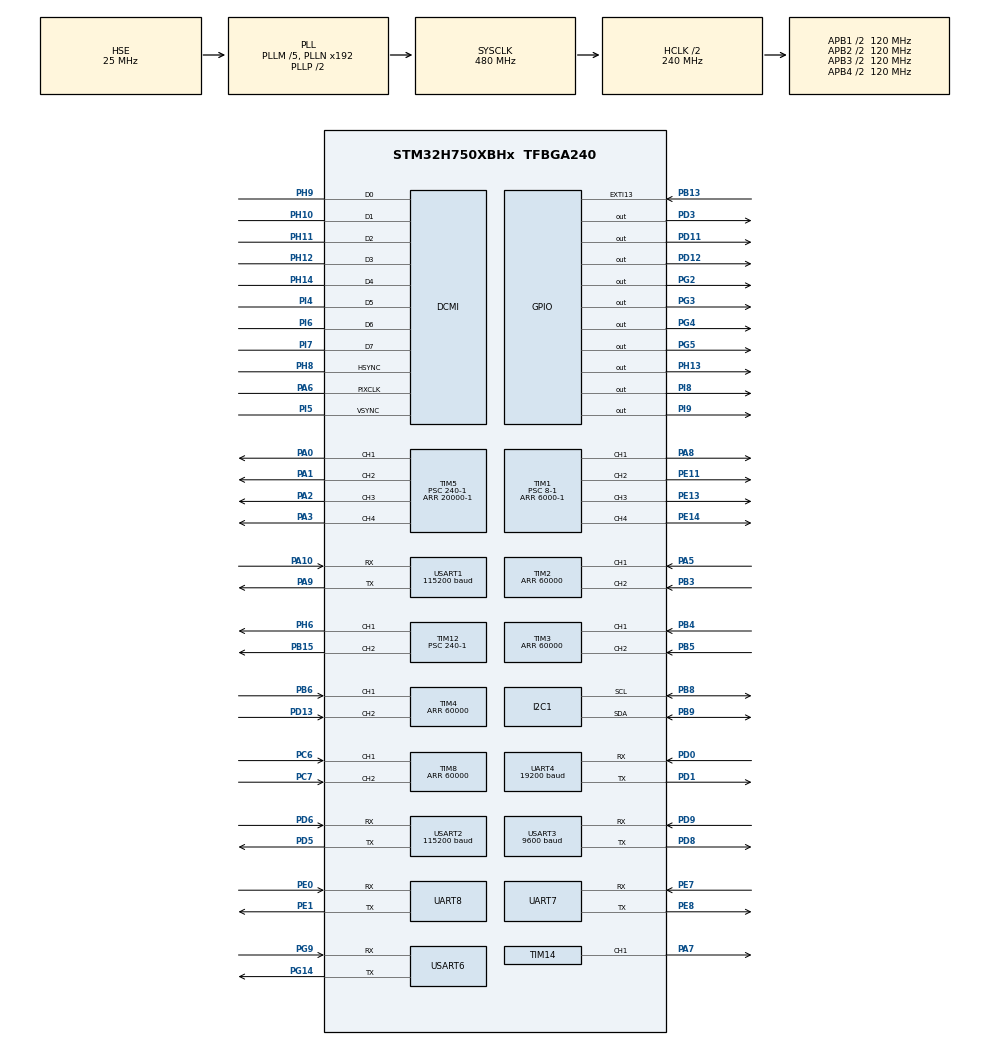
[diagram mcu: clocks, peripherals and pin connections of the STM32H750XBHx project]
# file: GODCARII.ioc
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CORTEX_M7.AccessPermission-Cortex_Memory_Protection_Unit_Region0_Settings=MPU_REGION_FULL_ACCESS
CORTEX_M7.AccessPermission_Spec=MPU_REGION_FULL_ACCESS
CORTEX_M7.BaseAddress-Cortex_Memory_Protection_Unit_Region0_Settings=0x24000000
CORTEX_M7.BaseAddress_Spec=0x24000000
CORTEX_M7.CPU_DCache=Enabled
CORTEX_M7.CPU_ICache=Enabled
CORTEX_M7.DisableExec_Spec=MPU_INSTRUCTION_ACCESS_ENABLE
CORTEX_M7.Enable-Cortex_Memory_Protection_Unit_Region0_Settings=MPU_REGION_ENABLE
CORTEX_M7.IsBufferable-Cortex_Memory_Protection_Unit_Region0_Settings=MPU_ACCESS_BUFFERABLE
CORTEX_M7.IsBufferable_Spec=MPU_ACCESS_BUFFERABLE
CORTEX_M7.IsCacheable-Cortex_Memory_Protection_Unit_Region0_Settings=MPU_ACCESS_CACHEABLE
CORTEX_M7.IsCacheable_Spec=MPU_ACCESS_CACHEABLE
CORTEX_M7.IsShareable-Cortex_Memory_Protection_Unit_Region0_Settings=MPU_ACCESS_SHAREABLE
CORTEX_M7.MPU_Control=MPU_HFNMI_PRIVDEF
CORTEX_M7.Size-Cortex_Memory_Protection_Unit_Region0_Settings=MPU_REGION_SIZE_512KB
CORTEX_M7.Size_Spec=MPU_REGION_SIZE_512KB
CORTEX_M7.SubRegionDisable_Spec=0x00
CORTEX_M7.default_mode_Activation=1
DCMI.JPEGMode=DCMI_JPEG_DISABLE
DCMI.PCKPolarity=DCMI_PCKPOLARITY_RISING
Dma.DCMI.0.Direction=DMA_PERIPH_TO_MEMORY
Dma.DCMI.0.EventEnable=DISABLE
Dma.DCMI.0.FIFOMode=DMA_FIFOMODE_ENABLE
Dma.DCMI.0.FIFOThreshold=DMA_FIFO_THRESHOLD_FULL
Dma.DCMI.0.Instance=DMA2_Stream7
Dma.DCMI.0.MemBurst=DMA_MBURST_SINGLE
Dma.DCMI.0.MemDataAlignment=DMA_MDATAALIGN_WORD
Dma.DCMI.0.MemInc=DMA_MINC_ENABLE
Dma.DCMI.0.Mode=DMA_CIRCULAR
Dma.DCMI.0.PeriphBurst=DMA_PBURST_SINGLE
Dma.DCMI.0.PeriphDataAlignment=DMA_PDATAALIGN_WORD
Dma.DCMI.0.PeriphInc=DMA_PINC_DISABLE
Dma.DCMI.0.Polarity=HAL_DMAMUX_REQ_GEN_RISING
Dma.DCMI.0.Priority=DMA_PRIORITY_LOW
Dma.DCMI.0.RequestNumber=1
Dma.DCMI.0.SignalID=NONE
Dma.DCMI.0.SyncEnable=DISABLE
Dma.DCMI.0.SyncPolarity=HAL_DMAMUX_SYNC_NO_EVENT
Dma.DCMI.0.SyncRequestNumber=1
Dma.DCMI.0.SyncSignalID=NONE
Dma.Request0=DCMI
Dma.Request1=USART1_TX
Dma.Request2=UART4_RX
Dma.Request3=USART6_RX
Dma.Request4=UART8_RX
Dma.Request5=UART7_RX
Dma.UART4_RX.2.Direction=DMA_PERIPH_TO_MEMORY
Dma.UART4_RX.2.EventEnable=DISABLE
Dma.UART4_RX.2.FIFOMode=DMA_FIFOMODE_DISABLE
Dma.UART4_RX.2.Instance=DMA1_Stream2
Dma.UART4_RX.2.MemDataAlignment=DMA_MDATAALIGN_BYTE
Dma.UART4_RX.2.MemInc=DMA_MINC_ENABLE
Dma.UART4_RX.2.Mode=DMA_NORMAL
Dma.UART4_RX.2.PeriphDataAlignment=DMA_PDATAALIGN_BYTE
Dma.UART4_RX.2.PeriphInc=DMA_PINC_DISABLE
Dma.UART4_RX.2.Polarity=HAL_DMAMUX_REQ_GEN_RISING
Dma.UART4_RX.2.Priority=DMA_PRIORITY_LOW
Dma.UART4_RX.2.RequestNumber=1
Dma.UART4_RX.2.SignalID=NONE
Dma.UART4_RX.2.SyncEnable=DISABLE
Dma.UART4_RX.2.SyncPolarity=HAL_DMAMUX_SYNC_NO_EVENT
Dma.UART4_RX.2.SyncRequestNumber=1
Dma.UART4_RX.2.SyncSignalID=NONE
Dma.UART7_RX.5.Direction=DMA_PERIPH_TO_MEMORY
Dma.UART7_RX.5.EventEnable=DISABLE
Dma.UART7_RX.5.FIFOMode=DMA_FIFOMODE_DISABLE
Dma.UART7_RX.5.Instance=DMA1_Stream0
Dma.UART7_RX.5.MemDataAlignment=DMA_MDATAALIGN_BYTE
Dma.UART7_RX.5.MemInc=DMA_MINC_ENABLE
Dma.UART7_RX.5.Mode=DMA_NORMAL
Dma.UART7_RX.5.PeriphDataAlignment=DMA_PDATAALIGN_BYTE
Dma.UART7_RX.5.PeriphInc=DMA_PINC_DISABLE
Dma.UART7_RX.5.Polarity=HAL_DMAMUX_REQ_GEN_RISING
Dma.UART7_RX.5.Priority=DMA_PRIORITY_LOW
Dma.UART7_RX.5.RequestNumber=1
Dma.UART7_RX.5.SignalID=NONE
Dma.UART7_RX.5.SyncEnable=DISABLE
Dma.UART7_RX.5.SyncPolarity=HAL_DMAMUX_SYNC_NO_EVENT
Dma.UART7_RX.5.SyncRequestNumber=1
Dma.UART7_RX.5.SyncSignalID=NONE
Dma.UART8_RX.4.Direction=DMA_PERIPH_TO_MEMORY
Dma.UART8_RX.4.EventEnable=DISABLE
Dma.UART8_RX.4.FIFOMode=DMA_FIFOMODE_DISABLE
Dma.UART8_RX.4.Instance=DMA1_Stream4
Dma.UART8_RX.4.MemDataAlignment=DMA_MDATAALIGN_BYTE
Dma.UART8_RX.4.MemInc=DMA_MINC_ENABLE
Dma.UART8_RX.4.Mode=DMA_NORMAL
Dma.UART8_RX.4.PeriphDataAlignment=DMA_PDATAALIGN_BYTE
Dma.UART8_RX.4.PeriphInc=DMA_PINC_DISABLE
Dma.UART8_RX.4.Polarity=HAL_DMAMUX_REQ_GEN_RISING
Dma.UART8_RX.4.Priority=DMA_PRIORITY_LOW
Dma.UART8_RX.4.RequestNumber=1
Dma.UART8_RX.4.SignalID=NONE
Dma.UART8_RX.4.SyncEnable=DISABLE
Dma.UART8_RX.4.SyncPolarity=HAL_DMAMUX_SYNC_NO_EVENT
Dma.UART8_RX.4.SyncRequestNumber=1
Dma.UART8_RX.4.SyncSignalID=NONE
Dma.USART1_TX.1.Direction=DMA_MEMORY_TO_PERIPH
Dma.USART1_TX.1.EventEnable=DISABLE
Dma.USART1_TX.1.FIFOMode=DMA_FIFOMODE_ENABLE
Dma.USART1_TX.1.FIFOThreshold=DMA_FIFO_THRESHOLD_FULL
Dma.USART1_TX.1.Instance=DMA1_Stream7
Dma.USART1_TX.1.MemBurst=DMA_MBURST_SINGLE
Dma.USART1_TX.1.MemDataAlignment=DMA_MDATAALIGN_BYTE
Dma.USART1_TX.1.MemInc=DMA_MINC_ENABLE
Dma.USART1_TX.1.Mode=DMA_NORMAL
Dma.USART1_TX.1.PeriphBurst=DMA_PBURST_SINGLE
Dma.USART1_TX.1.PeriphDataAlignment=DMA_PDATAALIGN_BYTE
Dma.USART1_TX.1.PeriphInc=DMA_PINC_DISABLE
Dma.USART1_TX.1.Polarity=HAL_DMAMUX_REQ_GEN_RISING
Dma.USART1_TX.1.Priority=DMA_PRIORITY_LOW
Dma.USART1_TX.1.RequestNumber=1
Dma.USART1_TX.1.SignalID=NONE
Dma.USART1_TX.1.SyncEnable=DISABLE
Dma.USART1_TX.1.SyncPolarity=HAL_DMAMUX_SYNC_NO_EVENT
Dma.USART1_TX.1.SyncRequestNumber=1
Dma.USART1_TX.1.SyncSignalID=NONE
Dma.USART6_RX.3.Direction=DMA_PERIPH_TO_MEMORY
Dma.USART6_RX.3.EventEnable=DISABLE
Dma.USART6_RX.3.FIFOMode=DMA_FIFOMODE_DISABLE
Dma.USART6_RX.3.Instance=DMA1_Stream3
Dma.USART6_RX.3.MemDataAlignment=DMA_MDATAALIGN_BYTE
Dma.USART6_RX.3.MemInc=DMA_MINC_ENABLE
Dma.USART6_RX.3.Mode=DMA_NORMAL
Dma.USART6_RX.3.PeriphDataAlignment=DMA_PDATAALIGN_BYTE
Dma.USART6_RX.3.PeriphInc=DMA_PINC_DISABLE
Dma.USART6_RX.3.Polarity=HAL_DMAMUX_REQ_GEN_RISING
Dma.USART6_RX.3.Priority=DMA_PRIORITY_LOW
Dma.USART6_RX.3.RequestNumber=1
Dma.USART6_RX.3.SignalID=NONE
Dma.USART6_RX.3.SyncEnable=DISABLE
Dma.USART6_RX.3.SyncPolarity=HAL_DMAMUX_SYNC_NO_EVENT
Dma.USART6_RX.3.SyncRequestNumber=1
Dma.USART6_RX.3.SyncSignalID=NONE
I2C1.Timing=0x307075B1
Mcu.Family=STM32H7
Mcu.Name=STM32H750XBHx
Mcu.Package=TFBGA240
NVIC.DCMI_IRQn=true\:0\:5\:true\:false\:true\:true\:true\:true
NVIC.DMA1_Stream0_IRQn=true\:0\:0\:false\:false\:true\:false\:true\:true
NVIC.DMA1_Stream2_IRQn=true\:0\:0\:false\:false\:true\:false\:true\:true
NVIC.DMA1_Stream3_IRQn=true\:0\:0\:false\:false\:true\:false\:true\:true
NVIC.DMA1_Stream4_IRQn=true\:0\:0\:false\:false\:true\:false\:true\:true
NVIC.DMA1_Stream7_IRQn=true\:0\:1\:false\:false\:true\:false\:true\:true
NVIC.DMA2_Stream7_IRQn=true\:0\:0\:false\:false\:true\:false\:true\:true
NVIC.EXTI15_10_IRQn=true\:0\:0\:false\:false\:true\:true\:true\:true
NVIC.PriorityGroup=NVIC_PRIORITYGROUP_0
NVIC.TIM2_IRQn=true\:0\:0\:false\:false\:true\:true\:true\:true
NVIC.TIM3_IRQn=true\:0\:0\:false\:false\:true\:true\:true\:true
NVIC.TIM4_IRQn=true\:0\:0\:false\:false\:true\:true\:true\:true
NVIC.TIM6_DAC_IRQn=true\:0\:0\:false\:false\:true\:true\:true\:true
NVIC.TIM8_BRK_TIM12_IRQn=true\:0\:0\:false\:false\:true\:true\:true\:true
NVIC.TIM8_CC_IRQn=true\:0\:0\:false\:false\:true\:true\:true\:true
NVIC.TIM8_TRG_COM_TIM14_IRQn=true\:0\:0\:false\:false\:true\:true\:true\:true
NVIC.TIM8_UP_TIM13_IRQn=true\:0\:0\:false\:false\:true\:true\:true\:true
NVIC.UART4_IRQn=true\:0\:0\:false\:false\:true\:true\:true\:true
NVIC.UART7_IRQn=true\:0\:0\:false\:false\:true\:true\:true\:true
NVIC.UART8_IRQn=true\:0\:0\:false\:false\:true\:true\:true\:true
NVIC.USART1_IRQn=true\:0\:0\:false\:false\:true\:true\:true\:true
NVIC.USART2_IRQn=true\:0\:0\:false\:false\:true\:true\:true\:true
NVIC.USART3_IRQn=true\:0\:0\:false\:false\:true\:true\:true\:true
NVIC.USART6_IRQn=true\:0\:0\:false\:false\:true\:true\:true\:true
PA0.Signal=S_TIM5_CH1
PA1.Signal=S_TIM5_CH2
PA10.GPIO_Speed=GPIO_SPEED_FREQ_VERY_HIGH
PA10.Mode=Asynchronous
PA10.Signal=USART1_RX
PA13\ (JTMS/SWDIO).Mode=Serial_Wire
PA13\ (JTMS/SWDIO).Signal=DEBUG_JTMS-SWDIO
PA14\ (JTCK/SWCLK).Mode=Serial_Wire
PA14\ (JTCK/SWCLK).Signal=DEBUG_JTCK-SWCLK
PA2.Signal=S_TIM5_CH3
PA3.Signal=S_TIM5_CH4
PA5.Signal=S_TIM2_CH1_ETR
PA6.GPIO_Speed=GPIO_SPEED_FREQ_VERY_HIGH
PA6.Mode=Slave_8_bits_External_Synchro
PA6.Signal=DCMI_PIXCLK
PA7.Signal=S_TIM14_CH1
PA8.Signal=S_TIM1_CH1
PA9.GPIO_Speed=GPIO_SPEED_FREQ_VERY_HIGH
PA9.Mode=Asynchronous
PA9.Signal=USART1_TX
PB13.GPIO_ModeDefaultEXTI=GPIO_MODE_IT_FALLING
PB13.GPIO_PuPd=GPIO_PULLUP
PB13.Signal=GPXTI13
PB15.Signal=S_TIM12_CH2
PB3\ (JTDO/TRACESWO).Signal=S_TIM2_CH2
PB4\ (NJTRST).Signal=S_TIM3_CH1
PB5.Signal=S_TIM3_CH2
PB6.Signal=S_TIM4_CH1
PB8.Mode=I2C
PB8.Signal=I2C1_SCL
PB9.Mode=I2C
PB9.Signal=I2C1_SDA
PC14-OSC32_IN\ (OSC32_IN).Mode=LSE-External-Oscillator
PC14-OSC32_IN\ (OSC32_IN).Signal=RCC_OSC32_IN
PC15-OSC32_OUT\ (OSC32_OUT).Mode=LSE-External-Oscillator
PC15-OSC32_OUT\ (OSC32_OUT).Signal=RCC_OSC32_OUT
PC6.Signal=S_TIM8_CH1
PC7.Signal=S_TIM8_CH2
PD0.Mode=Asynchronous
PD0.Signal=UART4_RX
PD1.Mode=Asynchronous
PD1.Signal=UART4_TX
PD11.GPIO_ModeDefaultOutputPP=GPIO_MODE_OUTPUT_PP
PD11.GPIO_PuPd=GPIO_PULLDOWN
PD11.Signal=SharedStack_PD11
PD11.Stacked=true
PD12.GPIO_ModeDefaultOutputPP=GPIO_MODE_OUTPUT_PP
PD12.GPIO_PuPd=GPIO_PULLDOWN
PD12.Signal=GPIO_Output
PD13.Signal=S_TIM4_CH2
PD3.GPIO_ModeDefaultOutputPP=GPIO_MODE_OUTPUT_PP
PD3.GPIO_PuPd=GPIO_PULLDOWN
PD3.PinState=GPIO_PIN_RESET
PD3.Signal=GPIO_Output
PD4.Signal=USART2_RTS
PD5.Mode=Asynchronous
PD5.Signal=USART2_TX
PD6.Mode=Asynchronous
PD6.Signal=USART2_RX
PD8.Mode=Asynchronous
PD8.Signal=USART3_TX
PD9.Mode=Asynchronous
PD9.Signal=USART3_RX
PE0.Mode=Asynchronous
PE0.Signal=UART8_RX
PE1.Mode=Asynchronous
PE1.Signal=UART8_TX
PE11.Signal=S_TIM1_CH2
PE13.Signal=S_TIM1_CH3
PE14.Signal=S_TIM1_CH4
PE7.Mode=Asynchronous
PE7.Signal=UART7_RX
PE8.Mode=Asynchronous
PE8.Signal=UART7_TX
PG14.Mode=Asynchronous
PG14.Signal=USART6_TX
PG2.Signal=GPIO_Output
PG3.Signal=GPIO_Output
PG4.Signal=GPIO_Output
PG5.Signal=GPIO_Output
PG9.Mode=Asynchronous
PG9.Signal=USART6_RX
PH0-OSC_IN\ (PH0).Mode=HSE-External-Oscillator
PH0-OSC_IN\ (PH0).Signal=RCC_OSC_IN
PH1-OSC_OUT\ (PH1).Mode=HSE-External-Oscillator
PH1-OSC_OUT\ (PH1).Signal=RCC_OSC_OUT
PH10.GPIO_Speed=GPIO_SPEED_FREQ_VERY_HIGH
PH10.Mode=Slave_8_bits_External_Synchro
PH10.Signal=DCMI_D1
PH11.GPIO_Speed=GPIO_SPEED_FREQ_VERY_HIGH
PH11.Mode=Slave_8_bits_External_Synchro
PH11.Signal=DCMI_D2
PH12.GPIO_Speed=GPIO_SPEED_FREQ_VERY_HIGH
PH12.Mode=Slave_8_bits_External_Synchro
PH12.Signal=DCMI_D3
PH13.GPIO_PuPd=GPIO_PULLUP
PH13.Signal=GPIO_Output
PH14.GPIO_Speed=GPIO_SPEED_FREQ_VERY_HIGH
PH14.Mode=Slave_8_bits_External_Synchro
PH14.Signal=DCMI_D4
PH6.Signal=S_TIM12_CH1
PH8.GPIO_Speed=GPIO_SPEED_FREQ_VERY_HIGH
PH8.Mode=Slave_8_bits_External_Synchro
PH8.Signal=DCMI_HSYNC
PH9.GPIO_Speed=GPIO_SPEED_FREQ_VERY_HIGH
PH9.Mode=Slave_8_bits_External_Synchro
PH9.Signal=DCMI_D0
PI4.GPIO_Speed=GPIO_SPEED_FREQ_VERY_HIGH
PI4.Mode=Slave_8_bits_External_Synchro
PI4.Signal=DCMI_D5
PI5.GPIO_Speed=GPIO_SPEED_FREQ_VERY_HIGH
PI5.Mode=Slave_8_bits_External_Synchro
PI5.Signal=DCMI_VSYNC
PI6.GPIO_Speed=GPIO_SPEED_FREQ_VERY_HIGH
PI6.Mode=Slave_8_bits_External_Synchro
PI6.Signal=DCMI_D6
PI7.GPIO_Speed=GPIO_SPEED_FREQ_VERY_HIGH
PI7.Mode=Slave_8_bits_External_Synchro
PI7.Signal=DCMI_D7
PI8.GPIO_ModeDefaultOutputPP=GPIO_MODE_OUTPUT_OD
PI8.GPIO_PuPd=GPIO_NOPULL
PI8.Signal=GPIO_Output
PI9.GPIO_ModeDefaultOutputPP=GPIO_MODE_OUTPUT_OD
PI9.GPIO_PuPd=GPIO_NOPULL
PI9.Signal=GPIO_Output
ProjectManager.HeapSize=0x200
ProjectManager.StackSize=0x400
ProjectManager.TargetToolchain=MDK-ARM V5.32
RCC.ADCFreq_Value=50390625
RCC.APB1Freq_Value=120000000
RCC.APB2Freq_Value=120000000
RCC.APB3Freq_Value=120000000
RCC.APB4Freq_Value=120000000
RCC.CortexFreq_Value=480000000
RCC.D1PPRE=RCC_APB3_DIV2
RCC.D2PPRE1=RCC_APB1_DIV2
RCC.D2PPRE2=RCC_APB2_DIV2
RCC.D3PPRE=RCC_APB4_DIV2
RCC.DIVM1=5
RCC.DIVN1=192
RCC.HCLKFreq_Value=240000000
RCC.HPRE=RCC_HCLK_DIV2
RCC.PLLSourceVirtual=RCC_PLLSOURCE_HSE
RCC.SYSCLKFreq_VALUE=480000000
RCC.SYSCLKSource=RCC_SYSCLKSOURCE_PLLCLK
RCC.USBFreq_Value=480000000
SH.S_TIM12_CH1.0=TIM12_CH1,PWM Generation1 CH1
SH.S_TIM12_CH2.0=TIM12_CH2,PWM Generation2 CH2
SH.S_TIM14_CH1.0=TIM14_CH1,PWM Generation1 CH1
SH.S_TIM1_CH1.0=TIM1_CH1,PWM Generation1 CH1
SH.S_TIM1_CH2.0=TIM1_CH2,PWM Generation2 CH2
SH.S_TIM1_CH3.0=TIM1_CH3,PWM Generation3 CH3
SH.S_TIM1_CH4.0=TIM1_CH4,PWM Generation4 CH4
SH.S_TIM2_CH1_ETR.0=TIM2_CH1,Encoder_Interface
SH.S_TIM2_CH2.0=TIM2_CH2,Encoder_Interface
SH.S_TIM3_CH1.0=TIM3_CH1,Encoder_Interface
SH.S_TIM3_CH2.0=TIM3_CH2,Encoder_Interface
SH.S_TIM4_CH1.0=TIM4_CH1,Encoder_Interface
SH.S_TIM4_CH2.0=TIM4_CH2,Encoder_Interface
SH.S_TIM5_CH1.0=TIM5_CH1,PWM Generation1 CH1
SH.S_TIM5_CH2.0=TIM5_CH2,PWM Generation2 CH2
SH.S_TIM5_CH3.0=TIM5_CH3,PWM Generation3 CH3
SH.S_TIM5_CH4.0=TIM5_CH4,PWM Generation4 CH4
SH.S_TIM8_CH1.0=TIM8_CH1,Encoder_Interface
SH.S_TIM8_CH2.0=TIM8_CH2,Encoder_Interface
SH.SharedStack_PD11.0=USART3_CTS
SH.SharedStack_PD11.1=GPIO_Output
TIM1.AutoReloadPreload=TIM_AUTORELOAD_PRELOAD_ENABLE
TIM1.Channel-PWM\ Generation1\ CH1=TIM_CHANNEL_1
TIM1.Channel-PWM\ Generation2\ CH2=TIM_CHANNEL_2
TIM1.Channel-PWM\ Generation3\ CH3=TIM_CHANNEL_3
TIM1.Channel-PWM\ Generation4\ CH4=TIM_CHANNEL_4
TIM1.Period=6000-1
TIM1.Prescaler=8-1
TIM12.Channel-PWM\ Generation1\ CH1=TIM_CHANNEL_1
TIM12.Channel-PWM\ Generation2\ CH2=TIM_CHANNEL_2
TIM12.Period=20000-1
TIM12.Prescaler=240-1
TIM14.AutoReloadPreload=TIM_AUTORELOAD_PRELOAD_ENABLE
TIM14.Channel=TIM_CHANNEL_1
TIM14.Period=20000-1
TIM14.Prescaler=240-1
TIM2.AutoReloadPreload=TIM_AUTORELOAD_PRELOAD_DISABLE
TIM2.EncoderMode=TIM_ENCODERMODE_TI12
TIM2.IC1Filter=6
TIM2.IC2Filter=6
TIM2.Period=60000
TIM3.AutoReloadPreload=TIM_AUTORELOAD_PRELOAD_DISABLE
TIM3.CounterMode=TIM_COUNTERMODE_UP
TIM3.EncoderMode=TIM_ENCODERMODE_TI12
TIM3.IC1Filter=6
TIM3.IC1Polarity=TIM_ICPOLARITY_RISING
TIM3.IC2Filter=6
TIM3.IC2Polarity=TIM_ICPOLARITY_RISING
TIM3.Period=60000
TIM4.AutoReloadPreload=TIM_AUTORELOAD_PRELOAD_DISABLE
TIM4.EncoderMode=TIM_ENCODERMODE_TI12
TIM4.IC1Filter=6
TIM4.IC2Filter=6
TIM4.Period=60000
TIM5.AutoReloadPreload=TIM_AUTORELOAD_PRELOAD_ENABLE
TIM5.Channel-PWM\ Generation1\ CH1=TIM_CHANNEL_1
TIM5.Channel-PWM\ Generation2\ CH2=TIM_CHANNEL_2
TIM5.Channel-PWM\ Generation3\ CH3=TIM_CHANNEL_3
TIM5.Channel-PWM\ Generation4\ CH4=TIM_CHANNEL_4
TIM5.Period=20000-1
TIM5.Prescaler=240-1
TIM6.AutoReloadPreload=TIM_AUTORELOAD_PRELOAD_ENABLE
TIM6.Period=50000-1
TIM6.Prescaler=240-1
TIM8.AutoReloadPreload=TIM_AUTORELOAD_PRELOAD_ENABLE
TIM8.CounterMode=TIM_COUNTERMODE_DOWN
TIM8.EncoderMode=TIM_ENCODERMODE_TI12
TIM8.IC1Filter=6
TIM8.IC2Filter=6
TIM8.Period=60000
UART4.BaudRate=19200
UART4.DMADisableonRxErrorParam=UART_ADVFEATURE_DMA_DISABLEONRXERROR
UART4.OverrunDisableParam=UART_ADVFEATURE_OVERRUN_DISABLE
UART7.DMADisableonRxErrorParam=UART_ADVFEATURE_DMA_DISABLEONRXERROR
UART7.OverrunDisableParam=UART_ADVFEATURE_OVERRUN_DISABLE
UART8.DMADisableonRxErrorParam=UART_ADVFEATURE_DMA_DISABLEONRXERROR
UART8.OverrunDisableParam=UART_ADVFEATURE_OVERRUN_DISABLE
USART1.BaudRate=115200
USART1.OverrunDisableParam=ADVFEATURE_OVERRUN_ENABLE
USART1.TXFIFOThreshold=TXFIFO_THRESHOLD_EMPTY
USART1.VirtualMode-Asynchronous=VM_ASYNC
USART2.BaudRate=115200
USART2.DMADisableonRxErrorParam=ADVFEATURE_DMA_DISABLEONRXERROR
USART2.OverrunDisableParam=ADVFEATURE_OVERRUN_DISABLE
USART2.VirtualMode-Asynchronous=VM_ASYNC
USART3.BaudRate=9600
USART3.DMADisableonRxErrorParam=ADVFEATURE_DMA_DISABLEONRXERROR
USART3.OverrunDisableParam=ADVFEATURE_OVERRUN_DISABLE
USART3.VirtualMode-Asynchronous=VM_ASYNC
USART6.VirtualMode-Asynchronous=VM_ASYNC
VP_TIM12_VS_ClockSourceINT.Mode=Internal
VP_TIM14_VS_ClockSourceINT.Mode=Enable_Timer
VP_TIM1_VS_ClockSourceINT.Mode=Internal
VP_TIM5_VS_ClockSourceINT.Mode=Internal
VP_TIM6_VS_ClockSourceINT.Mode=Enable_Timer
board=custom

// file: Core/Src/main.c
/* USER CODE BEGIN Header */
/**
 ******************************************************************************
 * @file           : main.c
 * @brief          : Main program body
 ******************************************************************************
 * @attention
 *
 * Copyright (c) 2022 STMicroelectronics.
 * All rights reserved.
 *
 * This software is licensed under terms that can be found in the LICENSE file
 * in the root directory of this software component.
 * If no LICENSE file comes with this software, it is provided AS-IS.
 *
 ******************************************************************************
 */
/* USER CODE END Header */
#include "main.h"
#include "dcmi.h"
#include "dma.h"
#include "i2c.h"
#include "tim.h"
#include "usart.h"
#include "gpio.h"

/* USER CODE BEGIN Includes */
// #include "dcmi_ov5640.h"
#include "usart_dma.h"
#include <string.h>
#include "stdio.h"
#include "camprocess.h"
#include "sys.h"
#include "motor.h"
#include "ov5640test.h"
#include "Display.h"
#include "esp8266.h"
//#include "JY60.h"
#include "openmv.h"
#include "test.h"

const uint8_t testLen = 7;
uint8_t testBuffer[testLen];

/* USER CODE END Includes */

/* USER CODE BEGIN PV */
extern uint8_t round1;
extern uint8_t round2;
extern uint8_t round3;
extern uint8_t round4;

/* USER CODE END PV */

void SystemClock_Config(void);
static void MPU_Config(void);

int main(void)
{

  /* MPU Configuration--------------------------------------------------------*/
  MPU_Config();

  /* Enable I-Cache---------------------------------------------------------*/
  SCB_EnableICache();

  /* Enable D-Cache---------------------------------------------------------*/
  SCB_EnableDCache();

  /* MCU Configuration--------------------------------------------------------*/

  /* Reset of all peripherals, Initializes the Flash interface and the Systick. */
  HAL_Init();

  /* Configure the system clock */
  SystemClock_Config();

  /* Initialize all configured peripherals */
  MX_GPIO_Init();
  MX_DMA_Init();
  MX_DCMI_Init();
  MX_USART1_UART_Init();
  MX_I2C1_Init();
  MX_TIM1_Init();
  MX_TIM2_Init();
  MX_TIM3_Init();
  MX_TIM4_Init();
  MX_TIM5_Init();
  MX_TIM6_Init();
  MX_TIM8_Init();
  MX_TIM12_Init();
  MX_TIM14_Init();
  MX_UART7_Init();
  MX_UART8_Init();
  MX_USART6_UART_Init();
  MX_UART4_Init();
  MX_USART2_UART_Init();
  MX_USART3_UART_Init();
  /* USER CODE BEGIN 2 */

    Motor_Init();

    // testInit  ();

    Servo_Init();

    DisPlay_Init();

    HAL_UART_Receive_IT(&huart1, testBuffer, testLen);

    // Assignment[0] = 2;
    // Assignment[1] = 1;
    // Assignment[2] = 3;

    // HAL_Delay (6000);

    openmv_Init();
    ToStartAngle();

    // procedure = 57;

  /* USER CODE END 2 */

  /* Infinite loop */
  /* USER CODE BEGIN WHILE */
    // target = 200;

    while (1)
    {
        if (CLEARFLAG == 1 && IF_LINE == 1)
        {
            Move_Stop();
            CLEARFLAG = 0;
        }

        if (IF_MOVE == 1 && IF_LINE == 1) // IF_MOVE == 1 并且 �???始循�??? 前进
        {
            Move_Forward();
        }

        if (Pick_ins == 1)
        {
            PickCargo_Yuanliao(Swuliao[2]);
            Pick_ins = 0;
        }

        // �??下全是cargoset
        {
            if (cargo_flag == 1)
            {
                CargoAction(Cargo1_ActionUp, Cargo1_ActionDown);
                cargo_flag = 0;
            }
            else if (cargo_flag == 2)
            {
                CargoAction(Cargo2_ActionUp, Cargo2_ActionDown);
                cargo_flag = 0;
            }
            else if (cargo_flag == 3)
            {
                CargoAction(Cargo3_ActionUp, Cargo3_ActionDown);
                cargo_flag = 0;
            }
            else if (cargo_flag == 4)
            {
                CargoFetch(Cargo1_FetchUp, Cargo1_FetchDown);
                cargo_flag = 0;
            }
            else if (cargo_flag == 5)
            {
                CargoFetch(Cargo2_FetchUp, Cargo2_FetchDown);
                cargo_flag = 0;
            }
            else if (cargo_flag == 6)
            {
                CargoFetch(Cargo3_FetchUp, Cargo3_FetchDown);
                cargo_flag = 0;

            }

            else if (cargo_flag == 10)
            {

                boardcolor[3] = 1;
                CargoFetch(Cargo1_FetchUp, Cargo1_FetchDown);
                DisposeCargo_Ground(Calculate_angle);
                HAL_Delay(3000);
                PickCargo_Ground(Calculate_angle);
                // CargoAction (Cargo1_ActionUp, Cargo1_ActionDown);
                farcircleagnle.holder = 23 + 4;
                ActionFunc(farcircleagnle);
                HAL_Delay(1000);
                HAL_UART_Transmit(&huart2, Flocation, 7, 0xff);

                cargo_flag = 0;
            }
            // else if (cargo_flag == 11)
            // {
            //     ToStartAngle();
            //     // HAL_Delay(1000);
            //     // StartAction ();

            //     // ActionFunc (waitAngle);

            //     cargo_flag = 0;

            // }
        //    else if (cargo_flag == 13)
        //    {
        //        StartAction();
        //        ActionFunc(lineAngle);
        //        cargo_flag = 0;
        //        procedure = 12;
        //    }
        }

        Procedure_Setting (procedure);
        // printCnt();
    }

    /* USER CODE END WHILE */

}

void SystemClock_Config(void)
{
  RCC_OscInitTypeDef RCC_OscInitStruct = {0};
  RCC_ClkInitTypeDef RCC_ClkInitStruct = {0};

  /** Supply configuration update enable
  */
  HAL_PWREx_ConfigSupply(PWR_LDO_SUPPLY);

  /** Configure the main internal regulator output voltage
  */
  __HAL_PWR_VOLTAGESCALING_CONFIG(PWR_REGULATOR_VOLTAGE_SCALE1);

  while(!__HAL_PWR_GET_FLAG(PWR_FLAG_VOSRDY)) {}

  __HAL_RCC_SYSCFG_CLK_ENABLE();
  __HAL_PWR_VOLTAGESCALING_CONFIG(PWR_REGULATOR_VOLTAGE_SCALE0);

  while(!__HAL_PWR_GET_FLAG(PWR_FLAG_VOSRDY)) {}

  /** Initializes the RCC Oscillators according to the specified parameters
  * in the RCC_OscInitTypeDef structure.
  */
  RCC_OscInitStruct.OscillatorType = RCC_OSCILLATORTYPE_HSE;
  RCC_OscInitStruct.HSEState = RCC_HSE_ON;
  RCC_OscInitStruct.PLL.PLLState = RCC_PLL_ON;
  RCC_OscInitStruct.PLL.PLLSource = RCC_PLLSOURCE_HSE;
  RCC_OscInitStruct.PLL.PLLM = 5;
  RCC_OscInitStruct.PLL.PLLN = 192;
  RCC_OscInitStruct.PLL.PLLP = 2;
  RCC_OscInitStruct.PLL.PLLQ = 2;
  RCC_OscInitStruct.PLL.PLLR = 2;
  RCC_OscInitStruct.PLL.PLLRGE = RCC_PLL1VCIRANGE_2;
  RCC_OscInitStruct.PLL.PLLVCOSEL = RCC_PLL1VCOWIDE;
  RCC_OscInitStruct.PLL.PLLFRACN = 0;
  if (HAL_RCC_OscConfig(&RCC_OscInitStruct) != HAL_OK)
  {
    Error_Handler();
  }

  /** Initializes the CPU, AHB and APB buses clocks
  */
  RCC_ClkInitStruct.ClockType = RCC_CLOCKTYPE_HCLK|RCC_CLOCKTYPE_SYSCLK
                              |RCC_CLOCKTYPE_PCLK1|RCC_CLOCKTYPE_PCLK2
                              |RCC_CLOCKTYPE_D3PCLK1|RCC_CLOCKTYPE_D1PCLK1;
  RCC_ClkInitStruct.SYSCLKSource = RCC_SYSCLKSOURCE_PLLCLK;
  RCC_ClkInitStruct.SYSCLKDivider = RCC_SYSCLK_DIV1;
  RCC_ClkInitStruct.AHBCLKDivider = RCC_HCLK_DIV2;
  RCC_ClkInitStruct.APB3CLKDivider = RCC_APB3_DIV2;
  RCC_ClkInitStruct.APB1CLKDivider = RCC_APB1_DIV2;
  RCC_ClkInitStruct.APB2CLKDivider = RCC_APB2_DIV2;
  RCC_ClkInitStruct.APB4CLKDivider = RCC_APB4_DIV2;

  if (HAL_RCC_ClockConfig(&RCC_ClkInitStruct, FLASH_LATENCY_4) != HAL_OK)
  {
    Error_Handler();
  }
}

/* USER CODE BEGIN 4 */

void HAL_GPIO_EXTI_Callback(uint16_t GPIO_Pin)
{
  /* Prevent unused argument(s) compilation warning */
  UNUSED(GPIO_Pin);
  for (volatile int i = 0; i<5000000; i++);
    // test_init();

    procedure = 1;
  /* NOTE: This function Should not be modified, when the callback is needed,
           the HAL_GPIO_EXTI_Callback could be implemented in the user file
   */
}

// 系统定时器中�??????????????????????
void HAL_TIM_PeriodElapsedCallback(TIM_HandleTypeDef *htim)
{
    /* Prevent unused argument(s) compilation warning */
    UNUSED(htim);

    /* NOTE : This function should not be modified, when the callback is needed,
              the HAL_TIM_PeriodElapsedCallback could be implemented in the user file
     */
    if (htim == &htim2)
    {
        round1++;
        // printf("\nround1 ++ %d\n", round1);
        HAL_TIM_Base_Start_IT(&htim2);
    }
    if (htim == &htim3)
    {
        round2++;
        // printf ("round2 ++ %d\n",round2);
        HAL_TIM_Base_Start_IT(&htim3);
    }
    if (htim == &htim4)
    {
        round3++;
        HAL_TIM_Base_Start_IT(&htim4);
        // printf ("round3 ++ %d\n",round3);
    }
    if (htim == &htim8)
    {
        round4++;
        // printf ("round4 ++ %d\n",round4);
        HAL_TIM_Base_Start_IT(&htim8);
    }
    // if (htim == &htim6)
    // {
    //     //printf ("%f", ang1.Yaw);
    //     if (IF_MOVE == 1)
    //     {
    //         Move_Forward();

    //         //这里要改
    //         // Lateral_correction();
    //     }

    //     //写完成条�??????????????????????
    //     if (IF_MOVE == 0)
    //     {
    //         procedure++;
    //     }
    // }
}

void HAL_UART_RxCpltCallback(UART_HandleTypeDef *huart)
{
    // if (huart == &huart5)
    // {
    //     printf ("%f\n%f\n%f\n\n", ang1.Pitch,ang1.Roll, ang1.Yaw);
    //     JY60_Message_Pross(DMARecieveBuffer_JY60, &acce1, &angv1, &ang1);
    //     //HAL_UART_Receive_DMA(&huart5, DMARecieveBuffer_JY60, 11);
    // }
    if (huart == &huart2)
    {
        MV_DataProcess1(openmv1);
    }
    if (huart == &huart3)
    {
        MV_DataProcess2(openmv2);
    }
    // if (huart == &huart1)
    // {
    //     int a = -15;        // 增大时向�??
    //     float y0 = 125 - 80;
    //     float x0 = 86.03 + 118.20 - 80;

    //     double p = x0 + (double)testBuffer[0] * testBuffer[1] / 1.4 + a;
    //     double k = acos((sqrt(p * p + (y0) * (y0)) / 2) / 150);
    //     double m = atan(p / (y0));
    //     double n = (PI - k - m) / PI * 180; //
    //     double l = (PI / 2 - m + k) / PI * 180;

    //     Calculate_angle.leftArm = l + 35;
    //     Calculate_angle.rightArm = 140 - n;
    //     Calculate_angle.cargoNo = 0;
    //     Calculate_angle.holder = NowAngle_Holder;

    //     // 测试用记得删�??
    //     ActionFunc (Calculate_angle);

    //     // DisPlay_Porcess (testBuffer);
    //     //HAL_UART_Transmit(&huart2, testBuffer, testLen, 0x00ff);
    //     HAL_UART_Receive_IT(&huart1, testBuffer, testLen);
    // }
    // if (huart == &huart1)
    // {
    //     MV_message_check (openmv1, &huart1);
    // }
}

// 空闲中断处理函数
void USAR_UART_IDLECallback(UART_HandleTypeDef *huart)
{
    if (RESET != __HAL_UART_GET_FLAG(huart, UART_FLAG_IDLE)) // 判断idle标志被置�??????????????????
    {
        __HAL_UART_CLEAR_IDLEFLAG(huart); // 清除标志
        HAL_UART_DMAStop(huart);          // 停止DMA传输
        // 处理中断标志�????????????????

        if (huart == &huart4)
        {
            DisPlay_Porcess(Display_Buffer);
            HAL_UART_Receive_DMA(&huart4, Display_Buffer, 64);
        }
        //    if (huart == &huart7)
        //    {
        //        HAL_UART_Receive_DMA(&huart7, 0x24000000,64);
        //    }
        //    if (huart == &huart8)
        //    {

        //    }
        //        if (huart == &huart5)
        //        {
        //            JY60_Message_Pross(DMARecieveBuffer_JY60, &acce1, &angv1, &ang1);
        //            HAL_UART_Receive_DMA(&huart5, DMARecieveBuffer_JY60, 15);
        //        }
        //        WifiProcess(huart);
    }
}

/* USER CODE END 4 */

/* MPU Configuration */

void MPU_Config(void)
{
  MPU_Region_InitTypeDef MPU_InitStruct = {0};

  /* Disables the MPU */
  HAL_MPU_Disable();

  /** Initializes and configures the Region and the memory to be protected
  */
  MPU_InitStruct.Enable = MPU_REGION_ENABLE;
  MPU_InitStruct.Number = MPU_REGION_NUMBER0;
  MPU_InitStruct.BaseAddress = 0x24000000;
  MPU_InitStruct.Size = MPU_REGION_SIZE_512KB;
  MPU_InitStruct.SubRegionDisable = 0x00;
  MPU_InitStruct.TypeExtField = MPU_TEX_LEVEL0;
  MPU_InitStruct.AccessPermission = MPU_REGION_FULL_ACCESS;
  MPU_InitStruct.DisableExec = MPU_INSTRUCTION_ACCESS_ENABLE;
  MPU_InitStruct.IsShareable = MPU_ACCESS_SHAREABLE;
  MPU_InitStruct.IsCacheable = MPU_ACCESS_CACHEABLE;
  MPU_InitStruct.IsBufferable = MPU_ACCESS_BUFFERABLE;

  HAL_MPU_ConfigRegion(&MPU_InitStruct);
  /* Enables the MPU */
  HAL_MPU_Enable(MPU_HFNMI_PRIVDEF);

}

void Error_Handler(void)
{
    __disable_irq();
    while (1)
    {
    }
}
